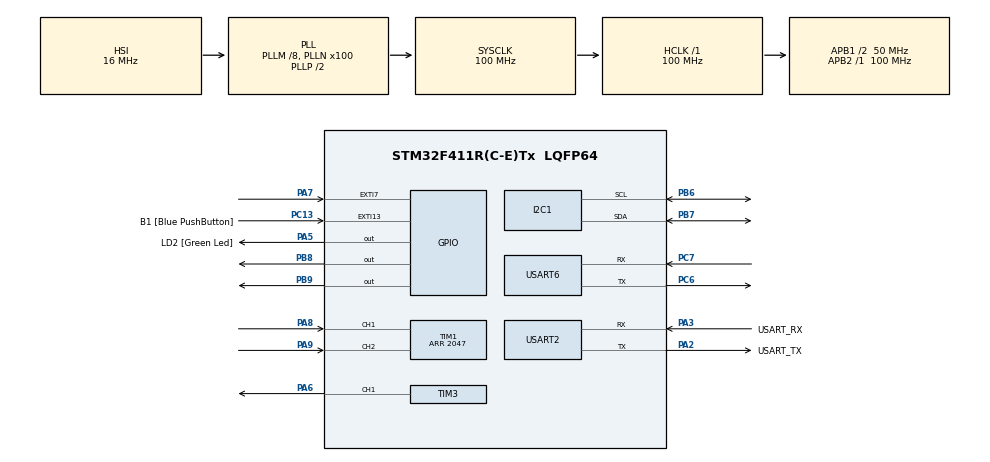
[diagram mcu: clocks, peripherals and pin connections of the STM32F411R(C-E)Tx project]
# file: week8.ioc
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Mcu.Family=STM32F4
RCC.CortexFreq_Value=100000000
NVIC.I2C1_EV_IRQn=true\:0\:0\:false\:false\:true\:true\:true
PA14.GPIO_Label=TCK
PB9.GPIO_ModeDefaultOutputPP=GPIO_MODE_OUTPUT_OD
TIM1.EncoderMode=TIM_ENCODERMODE_TI12
RCC.SYSCLKSource=RCC_SYSCLKSOURCE_PLLCLK
ProjectManager.StackSize=0x400
PH0\ -\ OSC_IN.Signal=RCC_OSC_IN
RCC.HCLKFreq_Value=100000000
RCC.APB2TimFreq_Value=100000000
TIM3.Period=10000
PB6.Signal=I2C1_SCL
PC7.Signal=USART6_RX
PB6.Mode=I2C
RCC.AHBFreq_Value=100000000
TIM3.Channel-PWM\ Generation1\ CH1=TIM_CHANNEL_1
RCC.HSE_VALUE=8000000
PC13-ANTI_TAMP.Signal=GPXTI13
PC14-OSC32_IN.Mode=LSE-External-Oscillator
PA14.Mode=Serial_Wire
TIM3.Prescaler=99
NVIC.TIM2_IRQn=true\:0\:0\:false\:false\:true\:true\:true
PB8.PinState=GPIO_PIN_RESET
PB7.Signal=I2C1_SDA
PA8.Signal=S_TIM1_CH1
SH.S_TIM3_CH1.0=TIM3_CH1,PWM Generation1 CH1
RCC.FLatency-AdvancedSettings=FLASH_LATENCY_3
PB9.Signal=GPIO_Output
Mcu.Package=LQFP64
TIM2.Prescaler=99
PA6.Signal=S_TIM3_CH1
USART2.VirtualMode=VM_ASYNC
USART6.VirtualMode=VM_ASYNC
PA2.GPIO_Label=USART_TX
PB9.GPIO_PuPd=GPIO_PULLUP
PB8.GPIO_ModeDefaultOutputPP=GPIO_MODE_OUTPUT_OD
RCC.APB1TimFreq_Value=100000000
TIM1.Period=2047
VP_TIM3_VS_ClockSourceINT.Mode=Internal
PA3.Signal=USART2_RX
PB3.GPIO_Label=SWO
PC15-OSC32_OUT.Mode=LSE-External-Oscillator
PC13-ANTI_TAMP.GPIO_Label=B1 [Blue PushButton]
PH1\ -\ OSC_OUT.Mode=HSE-External-Clock-Source
PB8.GPIO_PuPd=GPIO_PULLUP
PC6.Signal=USART6_TX
RCC.APB1CLKDivider=RCC_HCLK_DIV2
PC14-OSC32_IN.Signal=RCC_OSC32_IN
PA13.Signal=SYS_JTMS-SWDIO
PA3.Mode=Asynchronous
PH0\ -\ OSC_IN.Mode=HSE-External-Clock-Source
SH.S_TIM1_CH1.0=TIM1_CH1,Encoder_Interface
ProjectManager.TargetToolchain=STM32CubeIDE
PC6.Mode=Asynchronous
PA9.Signal=S_TIM1_CH2
PC15-OSC32_OUT.Signal=RCC_OSC32_OUT
PA5.Signal=GPIO_Output
PH1\ -\ OSC_OUT.Signal=RCC_OSC_OUT
board=NUCLEO-F411RE
RCC.VCOOutputFreq_Value=200000000
NVIC.TIM3_IRQn=true\:0\:0\:false\:false\:true\:true\:true
RCC.APB2Freq_Value=100000000
SH.S_TIM1_CH2.0=TIM1_CH2,Encoder_Interface
VP_TIM2_VS_ClockSourceINT.Mode=Internal
TIM1.IC2Filter=5
TIM2.Period=4294967295
PA13.Mode=Serial_Wire
Mcu.Name=STM32F411R(C-E)Tx
PA13.GPIO_Label=TMS
PA2.Signal=USART2_TX
RCC.48MHZClocksFreq_Value=50000000
PB3.Signal=SYS_JTDO-SWO
RCC.SYSCLKFreq_VALUE=100000000
PA5.GPIO_Label=LD2 [Green Led]
TIM1.IC1Filter=3
PC13-ANTI_TAMP.GPIO_ModeDefaultEXTI=GPIO_MODE_IT_FALLING
PB7.Mode=I2C
NVIC.EXTI9_5_IRQn=true\:0\:0\:false\:false\:true\:true\:true
PA14.Signal=SYS_JTCK-SWCLK
ProjectManager.HeapSize=0x200
RCC.HSI_VALUE=16000000
NVIC.PriorityGroup=NVIC_PRIORITYGROUP_0
RCC.PLLM=8
RCC.PLLN=100
PA2.Mode=Asynchronous
PB8.Signal=GPIO_Output
PC7.Mode=Asynchronous
RCC.APB1Freq_Value=50000000
PA3.GPIO_Label=USART_RX
PA7.Signal=GPXTI7

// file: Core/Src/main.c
/* USER CODE BEGIN Header */
/**
 ******************************************************************************
 * @file           : main.c
 * @brief          : Main program body
 ******************************************************************************
 * @attention
 *
 * <h2><center>&copy; Copyright (c) 2021 STMicroelectronics.
 * All rights reserved.</center></h2>
 *
 * This software component is licensed by ST under BSD 3-Clause license,
 * the "License"; You may not use this file except in compliance with the
 * License. You may obtain a copy of the License at:
 *                        opensource.org/licenses/BSD-3-Clause
 *
 ******************************************************************************
 */
/* USER CODE END Header */
#include "main.h"

/* USER CODE BEGIN Includes */
#include <math.h>
#include <stdlib.h>
/* USER CODE END Includes */

I2C_HandleTypeDef hi2c1;

TIM_HandleTypeDef htim1;
TIM_HandleTypeDef htim2;
TIM_HandleTypeDef htim3;

UART_HandleTypeDef huart2;
UART_HandleTypeDef huart6;

/* USER CODE BEGIN PV */
int32_t PWMOut = 5000;
uint64_t _micros = 0;
uint8_t cP = 0;
float outputVel = 0;
float EncoderVel = 0;
float sumVel = 0;
float preVel = 0;
float velocity = 0;
float position = 0;
float alpha = 0;
float tim = 0;
uint8_t check = 0;
_Bool SetHome = 0;
uint64_t setTime = 0;
float startAngle = 0;
float stopTime = 0;
uint8_t storeAngle = 0;
float finalAngle = 30;
float currentPosition = 0;
uint16_t rawPosition[2] = {0};
float accerelation = 0;
uint8_t state[2] = {0};
_Bool start = 0;
uint16_t dt = 10000;
uint64_t TimeOutputLoop = 0;
uint64_t Timestamp = 0;
float vMax = 10;
uint16_t Kp = 0;
float Ki = 0;
uint16_t Kd = 0;
uint16_t Kp_p = 0;
float Ki_p = 0;
uint16_t Kd_p = 0;
uint16_t k = 0;
float R = 0.2;
float Gl = 10;
static float tF = 0;
float omegaPredict = 0;
float omegaPredictPre = 0;
float P11predict = 0;
float P12predict = 0;
float P21predict = 0;
float P22predict = 0;
float P11predictPRE = 0;
float P12predictPRE = 0;
float P21predictPRE = 0;
float P22predictPRE = 0;
float errorVel = 0;
float errorPos = 0;
float delt = 0;
/* USER CODE END PV */

void SystemClock_Config(void);
static void MX_GPIO_Init(void);
static void MX_USART2_UART_Init(void);
static void MX_TIM1_Init(void);
static void MX_TIM2_Init(void);
static void MX_TIM3_Init(void);
static void MX_USART6_UART_Init(void);
static void MX_I2C1_Init(void);
/* USER CODE BEGIN PFP */
uint64_t micros();
#define  HTIM_ENCODER htim1
float EncoderVelocity_Update();
void pidPosition();
void piVelocity();
void trajectory(uint64_t);
void kalman();
void gotoSethome();
void I2C();
/* USER CODE END PFP */

int main(void)
{

  /* MCU Configuration--------------------------------------------------------*/

  /* Reset of all peripherals, Initializes the Flash interface and the Systick. */
  HAL_Init();

  /* Configure the system clock */
  SystemClock_Config();

  /* Initialize all configured peripherals */
  MX_GPIO_Init();
  MX_USART2_UART_Init();
  MX_TIM1_Init();
  MX_TIM2_Init();
  MX_TIM3_Init();
  MX_USART6_UART_Init();
  MX_I2C1_Init();
  /* USER CODE BEGIN 2 */
	//start micros
	HAL_TIM_Base_Start_IT(&htim2);
	//Encoder start
	HAL_TIM_Encoder_Start(&htim1, TIM_CHANNEL_ALL);
	//PWM start AIN1
	HAL_TIM_Base_Start(&htim3);
	HAL_TIM_PWM_Start(&htim3,TIM_CHANNEL_1);
	htim3.Instance->CCR1 = 5000;
	I2C();
  /* USER CODE END 2 */

  /* Infinite loop */
	while (1)
	{

    /* USER CODE BEGIN 3 */
		gotoSethome();
		if (micros() - Timestamp >= dt){
			Timestamp = micros();
			trajectory(Timestamp);
			kalman();
			pidPosition();
		}

	}
  /* USER CODE END 3 */
}

void SystemClock_Config(void)
{
  RCC_OscInitTypeDef RCC_OscInitStruct = {0};
  RCC_ClkInitTypeDef RCC_ClkInitStruct = {0};

  /** Configure the main internal regulator output voltage
  */
  __HAL_RCC_PWR_CLK_ENABLE();
  __HAL_PWR_VOLTAGESCALING_CONFIG(PWR_REGULATOR_VOLTAGE_SCALE1);
  /** Initializes the RCC Oscillators according to the specified parameters
  * in the RCC_OscInitTypeDef structure.
  */
  RCC_OscInitStruct.OscillatorType = RCC_OSCILLATORTYPE_HSI;
  RCC_OscInitStruct.HSIState = RCC_HSI_ON;
  RCC_OscInitStruct.HSICalibrationValue = RCC_HSICALIBRATION_DEFAULT;
  RCC_OscInitStruct.PLL.PLLState = RCC_PLL_ON;
  RCC_OscInitStruct.PLL.PLLSource = RCC_PLLSOURCE_HSI;
  RCC_OscInitStruct.PLL.PLLM = 8;
  RCC_OscInitStruct.PLL.PLLN = 100;
  RCC_OscInitStruct.PLL.PLLP = RCC_PLLP_DIV2;
  RCC_OscInitStruct.PLL.PLLQ = 4;
  if (HAL_RCC_OscConfig(&RCC_OscInitStruct) != HAL_OK)
  {
    Error_Handler();
  }
  /** Initializes the CPU, AHB and APB buses clocks
  */
  RCC_ClkInitStruct.ClockType = RCC_CLOCKTYPE_HCLK|RCC_CLOCKTYPE_SYSCLK
                              |RCC_CLOCKTYPE_PCLK1|RCC_CLOCKTYPE_PCLK2;
  RCC_ClkInitStruct.SYSCLKSource = RCC_SYSCLKSOURCE_PLLCLK;
  RCC_ClkInitStruct.AHBCLKDivider = RCC_SYSCLK_DIV1;
  RCC_ClkInitStruct.APB1CLKDivider = RCC_HCLK_DIV2;
  RCC_ClkInitStruct.APB2CLKDivider = RCC_HCLK_DIV1;

  if (HAL_RCC_ClockConfig(&RCC_ClkInitStruct, FLASH_LATENCY_3) != HAL_OK)
  {
    Error_Handler();
  }
}

static void MX_I2C1_Init(void)
{

  hi2c1.Instance = I2C1;
  hi2c1.Init.ClockSpeed = 100000;
  hi2c1.Init.DutyCycle = I2C_DUTYCYCLE_2;
  hi2c1.Init.OwnAddress1 = 0;
  hi2c1.Init.AddressingMode = I2C_ADDRESSINGMODE_7BIT;
  hi2c1.Init.DualAddressMode = I2C_DUALADDRESS_DISABLE;
  hi2c1.Init.OwnAddress2 = 0;
  hi2c1.Init.GeneralCallMode = I2C_GENERALCALL_DISABLE;
  hi2c1.Init.NoStretchMode = I2C_NOSTRETCH_DISABLE;
  if (HAL_I2C_Init(&hi2c1) != HAL_OK)
  {
    Error_Handler();
  }

}

static void MX_TIM1_Init(void)
{

  TIM_Encoder_InitTypeDef sConfig = {0};
  TIM_MasterConfigTypeDef sMasterConfig = {0};

  htim1.Instance = TIM1;
  htim1.Init.Prescaler = 0;
  htim1.Init.CounterMode = TIM_COUNTERMODE_UP;
  htim1.Init.Period = 2047;
  htim1.Init.ClockDivision = TIM_CLOCKDIVISION_DIV1;
  htim1.Init.RepetitionCounter = 0;
  htim1.Init.AutoReloadPreload = TIM_AUTORELOAD_PRELOAD_DISABLE;
  sConfig.EncoderMode = TIM_ENCODERMODE_TI12;
  sConfig.IC1Polarity = TIM_ICPOLARITY_RISING;
  sConfig.IC1Selection = TIM_ICSELECTION_DIRECTTI;
  sConfig.IC1Prescaler = TIM_ICPSC_DIV1;
  sConfig.IC1Filter = 3;
  sConfig.IC2Polarity = TIM_ICPOLARITY_RISING;
  sConfig.IC2Selection = TIM_ICSELECTION_DIRECTTI;
  sConfig.IC2Prescaler = TIM_ICPSC_DIV1;
  sConfig.IC2Filter = 5;
  if (HAL_TIM_Encoder_Init(&htim1, &sConfig) != HAL_OK)
  {
    Error_Handler();
  }
  sMasterConfig.MasterOutputTrigger = TIM_TRGO_RESET;
  sMasterConfig.MasterSlaveMode = TIM_MASTERSLAVEMODE_DISABLE;
  if (HAL_TIMEx_MasterConfigSynchronization(&htim1, &sMasterConfig) != HAL_OK)
  {
    Error_Handler();
  }

}

static void MX_TIM2_Init(void)
{

  TIM_ClockConfigTypeDef sClockSourceConfig = {0};
  TIM_MasterConfigTypeDef sMasterConfig = {0};

  htim2.Instance = TIM2;
  htim2.Init.Prescaler = 99;
  htim2.Init.CounterMode = TIM_COUNTERMODE_UP;
  htim2.Init.Period = 4294967295;
  htim2.Init.ClockDivision = TIM_CLOCKDIVISION_DIV1;
  htim2.Init.AutoReloadPreload = TIM_AUTORELOAD_PRELOAD_DISABLE;
  if (HAL_TIM_Base_Init(&htim2) != HAL_OK)
  {
    Error_Handler();
  }
  sClockSourceConfig.ClockSource = TIM_CLOCKSOURCE_INTERNAL;
  if (HAL_TIM_ConfigClockSource(&htim2, &sClockSourceConfig) != HAL_OK)
  {
    Error_Handler();
  }
  sMasterConfig.MasterOutputTrigger = TIM_TRGO_RESET;
  sMasterConfig.MasterSlaveMode = TIM_MASTERSLAVEMODE_DISABLE;
  if (HAL_TIMEx_MasterConfigSynchronization(&htim2, &sMasterConfig) != HAL_OK)
  {
    Error_Handler();
  }

}

static void MX_TIM3_Init(void)
{

  TIM_ClockConfigTypeDef sClockSourceConfig = {0};
  TIM_MasterConfigTypeDef sMasterConfig = {0};
  TIM_OC_InitTypeDef sConfigOC = {0};

  htim3.Instance = TIM3;
  htim3.Init.Prescaler = 99;
  htim3.Init.CounterMode = TIM_COUNTERMODE_UP;
  htim3.Init.Period = 10000;
  htim3.Init.ClockDivision = TIM_CLOCKDIVISION_DIV1;
  htim3.Init.AutoReloadPreload = TIM_AUTORELOAD_PRELOAD_DISABLE;
  if (HAL_TIM_Base_Init(&htim3) != HAL_OK)
  {
    Error_Handler();
  }
  sClockSourceConfig.ClockSource = TIM_CLOCKSOURCE_INTERNAL;
  if (HAL_TIM_ConfigClockSource(&htim3, &sClockSourceConfig) != HAL_OK)
  {
    Error_Handler();
  }
  if (HAL_TIM_PWM_Init(&htim3) != HAL_OK)
  {
    Error_Handler();
  }
  sMasterConfig.MasterOutputTrigger = TIM_TRGO_RESET;
  sMasterConfig.MasterSlaveMode = TIM_MASTERSLAVEMODE_DISABLE;
  if (HAL_TIMEx_MasterConfigSynchronization(&htim3, &sMasterConfig) != HAL_OK)
  {
    Error_Handler();
  }
  sConfigOC.OCMode = TIM_OCMODE_PWM1;
  sConfigOC.Pulse = 0;
  sConfigOC.OCPolarity = TIM_OCPOLARITY_HIGH;
  sConfigOC.OCFastMode = TIM_OCFAST_DISABLE;
  if (HAL_TIM_PWM_ConfigChannel(&htim3, &sConfigOC, TIM_CHANNEL_1) != HAL_OK)
  {
    Error_Handler();
  }
  HAL_TIM_MspPostInit(&htim3);

}

static void MX_USART2_UART_Init(void)
{

  huart2.Instance = USART2;
  huart2.Init.BaudRate = 115200;
  huart2.Init.WordLength = UART_WORDLENGTH_8B;
  huart2.Init.StopBits = UART_STOPBITS_1;
  huart2.Init.Parity = UART_PARITY_NONE;
  huart2.Init.Mode = UART_MODE_TX_RX;
  huart2.Init.HwFlowCtl = UART_HWCONTROL_NONE;
  huart2.Init.OverSampling = UART_OVERSAMPLING_16;
  if (HAL_UART_Init(&huart2) != HAL_OK)
  {
    Error_Handler();
  }

}

static void MX_USART6_UART_Init(void)
{

  huart6.Instance = USART6;
  huart6.Init.BaudRate = 115200;
  huart6.Init.WordLength = UART_WORDLENGTH_8B;
  huart6.Init.StopBits = UART_STOPBITS_1;
  huart6.Init.Parity = UART_PARITY_NONE;
  huart6.Init.Mode = UART_MODE_TX_RX;
  huart6.Init.HwFlowCtl = UART_HWCONTROL_NONE;
  huart6.Init.OverSampling = UART_OVERSAMPLING_16;
  if (HAL_UART_Init(&huart6) != HAL_OK)
  {
    Error_Handler();
  }

}

static void MX_GPIO_Init(void)
{
  GPIO_InitTypeDef GPIO_InitStruct = {0};

  /* GPIO Ports Clock Enable */
  __HAL_RCC_GPIOC_CLK_ENABLE();
  __HAL_RCC_GPIOH_CLK_ENABLE();
  __HAL_RCC_GPIOA_CLK_ENABLE();
  __HAL_RCC_GPIOB_CLK_ENABLE();

  /*Configure GPIO pin Output Level */
  HAL_GPIO_WritePin(LD2_GPIO_Port, LD2_Pin, GPIO_PIN_RESET);

  /*Configure GPIO pin Output Level */
  HAL_GPIO_WritePin(GPIOB, GPIO_PIN_8|GPIO_PIN_9, GPIO_PIN_RESET);

  /*Configure GPIO pin : B1_Pin */
  GPIO_InitStruct.Pin = B1_Pin;
  GPIO_InitStruct.Mode = GPIO_MODE_IT_FALLING;
  GPIO_InitStruct.Pull = GPIO_NOPULL;
  HAL_GPIO_Init(B1_GPIO_Port, &GPIO_InitStruct);

  /*Configure GPIO pin : LD2_Pin */
  GPIO_InitStruct.Pin = LD2_Pin;
  GPIO_InitStruct.Mode = GPIO_MODE_OUTPUT_PP;
  GPIO_InitStruct.Pull = GPIO_NOPULL;
  GPIO_InitStruct.Speed = GPIO_SPEED_FREQ_LOW;
  HAL_GPIO_Init(LD2_GPIO_Port, &GPIO_InitStruct);

  /*Configure GPIO pin : PA7 */
  GPIO_InitStruct.Pin = GPIO_PIN_7;
  GPIO_InitStruct.Mode = GPIO_MODE_IT_RISING;
  GPIO_InitStruct.Pull = GPIO_NOPULL;
  HAL_GPIO_Init(GPIOA, &GPIO_InitStruct);

  /*Configure GPIO pins : PB8 PB9 */
  GPIO_InitStruct.Pin = GPIO_PIN_8|GPIO_PIN_9;
  GPIO_InitStruct.Mode = GPIO_MODE_OUTPUT_OD;
  GPIO_InitStruct.Pull = GPIO_PULLUP;
  GPIO_InitStruct.Speed = GPIO_SPEED_FREQ_LOW;
  HAL_GPIO_Init(GPIOB, &GPIO_InitStruct);

  /* EXTI interrupt init*/
  HAL_NVIC_SetPriority(EXTI9_5_IRQn, 0, 0);
  HAL_NVIC_EnableIRQ(EXTI9_5_IRQn);

}

/* USER CODE BEGIN 4 */
#define  MAX_SUBPOSITION_OVERFLOW 1536
#define  MAX_ENCODER_PERIOD 2048

void HAL_GPIO_EXTI_Callback(uint16_t GPIO_Pin){
	if(GPIO_Pin == GPIO_PIN_7){
		check ++;
		cP = 0;
		velocity = 0;
		SetHome = 0;
		HAL_NVIC_DisableIRQ(EXTI9_5_IRQn);
	}
}

void I2C(){
	const uint8_t laserAddress = 0x23<<1;
	static uint8_t pdataStart[1] = {0x45};
//	HAL_I2C_Master_Transmit_IT(&hi2c1, laserAddress, pdataStart, 1);
}

float EncoderVelocity_Update()
{
	//Save Last state
	static uint32_t EncoderLastPosition = 0;
	static uint64_t EncoderLastTimestamp = 0;

	//read data
	uint32_t EncoderNowPosition = HTIM_ENCODER.Instance->CNT;
	uint64_t EncoderNowTimestamp = micros();

	int32_t EncoderPositionDiff;
	uint64_t EncoderTimeDiff;

	EncoderTimeDiff = EncoderNowTimestamp - EncoderLastTimestamp;
	EncoderPositionDiff = EncoderNowPosition - EncoderLastPosition;

	//compensate overflow and underflow
	if (EncoderPositionDiff >= MAX_SUBPOSITION_OVERFLOW)
	{
		EncoderPositionDiff -= MAX_ENCODER_PERIOD;
	}
	else if (-EncoderPositionDiff >= MAX_SUBPOSITION_OVERFLOW)
	{
		EncoderPositionDiff += MAX_ENCODER_PERIOD;
	}

	//Update Position and time
	EncoderLastPosition = EncoderNowPosition;
	EncoderLastTimestamp = EncoderNowTimestamp;

	//Calculate velocity
	//EncoderTimeDiff is in uS
	return (EncoderPositionDiff * 1000000*60) / (float) (EncoderTimeDiff *2048*4);

}

void trajectory(uint64_t Timestamp){
	static float a0 = 0;
	static float a1 = 0;
	static float a2 = 0;
	static float a3 = 0;
	static uint64_t setTime = 0;
	state[0] = start;
	rawPosition[0] = HTIM_ENCODER.Instance->CNT*90/2048;
	if((rawPosition[0] < 10 )&& (rawPosition[1] > 87)){
		cP += 1;
	}
	else if ((rawPosition[0] >87 )&& (rawPosition[1] < 10)){
		cP -= 1;
	}
	if (cP > 3){
		cP = 0;
	}
	else if (cP < 0){
		cP = 0;
	}
	currentPosition = rawPosition[0] + cP*90;
	if(state[0] == 1){
		if(state[0] != state[1]){
			setTime = Timestamp;
			startAngle = currentPosition;
		}
		tim = (float) (Timestamp-setTime)/1000000;
		tF = (float) (250*abs(finalAngle-startAngle-storeAngle)/(355*vMax));
		a0 = startAngle;
		a1 = 0;
		a2 = (float) (3/pow(tF,2))*(finalAngle-startAngle);
		a3 = (float) -(2/pow(tF,3))*(finalAngle-startAngle);
		position = (float) a0+ (a1*tim) +(a2*pow(tim,2)) +(a3*pow(tim,3));
		velocity = (float) (a1 +(2*a2*tim) +(3*a3*pow(tim,2)))/6;
		alpha = (float) ((2*a2) +(6*a3*tim))*2*3.14/360;
		if ((abs(currentPosition - finalAngle) < 2)||(tim >= tF)){
			start = 0;
			velocity = 0;
			stopTime = Timestamp;
			I2C();
		}
	}
	rawPosition[1] = rawPosition[0];
}

void pidPosition(){
	static float error = 0;
	static float integral = 0;
	static float derivative = 0;
	error = abs(velocity) - abs(EncoderVel);
	integral = integral+error;
	PWMOut = k + Kp_p*error + Ki_p*integral +Kd_p*(error-derivative);
	derivative = error;
	if (abs(PWMOut) > 10000){
		PWMOut = 10000;
	}

	if (velocity == 0){
		PWMOut = 0;
		error = 0;
		integral = 0;
		derivative = 0;
	}
}

void piVelocity(){
	static float error = 0;
		static float integral = 0;
		static float derivative = 0;
		error = abs(velocity) - abs(EncoderVel);
		integral = integral+error;
		PWMOut = k + Kp*error + Ki*integral +Kd*(error-derivative);
		derivative = error;
		if (abs(PWMOut) > 10000){
			PWMOut = 10000;
		}

		if (velocity == 0){
			PWMOut = 0;
			error = 0;
			integral = 0;
			derivative = 0;
		}
		if(velocity < 0){
				HAL_GPIO_WritePin(GPIOB, GPIO_PIN_8, SET);
				HAL_GPIO_WritePin(GPIOB, GPIO_PIN_9, RESET);
			}
			else if (velocity > 0){
				HAL_GPIO_WritePin(GPIOB, GPIO_PIN_9, SET);
				HAL_GPIO_WritePin(GPIOB, GPIO_PIN_8, RESET);
			}
			htim3.Instance->CCR1 = abs(PWMOut);
			state[1] = state[0];
}
void gotoSethome(){
	if (SetHome == 1){
		velocity = 3;
		HAL_NVIC_EnableIRQ(EXTI9_5_IRQn);
	}
}
void kalman(){
	static float omegaPredict = 0;
	static float omegaPredictPre = 0;
	static float P11predict = 0;
	static float P12predict = 0;
	static float P21predict = 0;
	static float P22predict = 0;
	static float P11predictPRE = 0;
	static float P12predictPRE = 0;
	static float P21predictPRE = 0;
	static float P22predictPRE = 0;
	static float errorVel = 0;
	static float delt = 0;

	delt = (float) dt/1000000;
	omegaPredict =  (float) omegaPredictPre;
	errorVel = (float) EncoderVelocity_Update() - omegaPredict;

	P11predict = (float) P11predictPRE+delt*P21predictPRE+(pow(Gl,2)*pow(delt,4))/4+(pow(delt,2)*(P12predictPRE+delt*P22predictPRE))/delt;
	P12predict = (float) P12predictPRE+delt*P22predictPRE+(pow(Gl,2)*delt*pow(delt,2))/2;
	P21predict = (float) (2*delt*P21predictPRE+pow(Gl,2)*pow(delt,4)+2*P22predictPRE*pow(delt,2))/(2*delt);
	P22predict = (float) pow(Gl,2)*pow(delt,2) +P22predictPRE;

	EncoderVel = (float) omegaPredict + (P22predict*errorVel)/(pow(R,2)+P22predict);
	P11predictPRE = (float) P11predict - (P12predict*P21predict)/(pow(R,2)+P22predict);
	P12predictPRE = (float) P12predict - (P12predict*P22predict)/(pow(R,2)+P22predict);
	P21predictPRE = (float) P21predict*(P22predict/(pow(R,2)+P22predict)-1);
	P22predictPRE = (float) P22predict*(P22predict/(pow(R,2)+P22predict)-1);
	omegaPredictPre = EncoderVel;
	if (velocity == 0){
		P11predict = 0;
		P12predict = 0;
		P21predict = 0;
		P22predict = 0;
		P11predictPRE = 0;
		P12predictPRE = 0;
		P21predictPRE = 0;
		P22predictPRE = 0;
		omegaPredict = 0;
		omegaPredictPre = 0;
		errorVel = 0;
	}
}

void HAL_TIM_PeriodElapsedCallback(TIM_HandleTypeDef *htim)
{
	if (htim == &htim2)
	{
		_micros += 4294967295;
	}
}
uint64_t micros()
{
	return _micros + htim2.Instance->CNT;
}
/* USER CODE END 4 */

void Error_Handler(void)
{
	__disable_irq();
	while (1)
	{
	}
}

/************************ (C) COPYRIGHT STMicroelectronics *****END OF FILE****/
